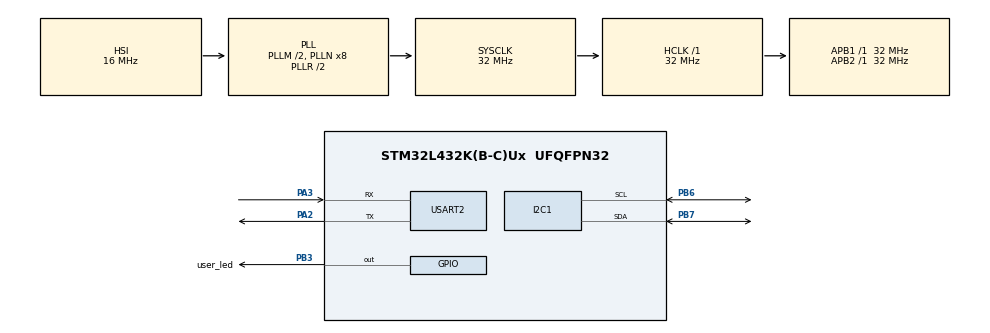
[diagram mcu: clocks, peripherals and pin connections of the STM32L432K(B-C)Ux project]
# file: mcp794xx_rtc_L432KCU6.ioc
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I2C1.Timing=0x00707CBB
Mcu.Family=STM32L4
Mcu.Name=STM32L432K(B-C)Ux
Mcu.Package=UFQFPN32
NVIC.PriorityGroup=NVIC_PRIORITYGROUP_4
PA13\ (JTMS-SWDIO).Mode=Serial_Wire
PA13\ (JTMS-SWDIO).Signal=SYS_JTMS-SWDIO
PA14\ (JTCK-SWCLK).Mode=Serial_Wire
PA14\ (JTCK-SWCLK).Signal=SYS_JTCK-SWCLK
PA2.Mode=Asynchronous
PA2.Signal=USART2_TX
PA3.Mode=Asynchronous
PA3.Signal=USART2_RX
PB3\ (JTDO-TRACESWO).GPIO_Label=user_led
PB3\ (JTDO-TRACESWO).Signal=GPIO_Output
PB6.Mode=I2C
PB6.Signal=I2C1_SCL
PB7.Mode=I2C
PB7.Signal=I2C1_SDA
ProjectManager.HeapSize=0x200
ProjectManager.StackSize=0x400
ProjectManager.TargetToolchain=STM32CubeIDE
RCC.ADCFreq_Value=32000000
RCC.AHBFreq_Value=32000000
RCC.APB1Freq_Value=32000000
RCC.APB1TimFreq_Value=32000000
RCC.APB2Freq_Value=32000000
RCC.APB2TimFreq_Value=32000000
RCC.CortexFreq_Value=32000000
RCC.HCLKFreq_Value=32000000
RCC.HSE_VALUE=8000000
RCC.HSI48_VALUE=48000000
RCC.HSI_VALUE=16000000
RCC.LSE_VALUE=32768
RCC.MSI_VALUE=4000000
RCC.PLLM=2
RCC.PLLSourceVirtual=RCC_PLLSOURCE_HSI
RCC.SYSCLKFreq_VALUE=32000000
RCC.SYSCLKSource=RCC_SYSCLKSOURCE_PLLCLK
RCC.USBFreq_Value=32000000
RCC.VCOOutputFreq_Value=64000000
USART2.VirtualMode-Asynchronous=VM_ASYNC
board=custom

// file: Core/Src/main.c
/* USER CODE BEGIN Header */
/**
  ******************************************************************************
  * @file           : main.c
  * @brief          : Main program body
  ******************************************************************************
  * @attention
  *
  * Copyright (c) 2023 STMicroelectronics.
  * All rights reserved.
  *
  * This software is licensed under terms that can be found in the LICENSE file
  * in the root directory of this software component.
  * If no LICENSE file comes with this software, it is provided AS-IS.
  *
  ******************************************************************************
  */
/* USER CODE END Header */
#include "main.h"

/* USER CODE BEGIN Includes */
#include "mcp794xx_driver_basic.h"
/* USER CODE END Includes */

 I2C_HandleTypeDef hi2c1;

UART_HandleTypeDef huart2;

void SystemClock_Config(void);
static void MX_GPIO_Init(void);
static void MX_I2C1_Init(void);
static void MX_USART2_UART_Init(void);

/* USER CODE BEGIN 0 */

typedef enum{                   /**< driver test state chine */

	SET_TIME_DATE,
	GET_COMPILE_TIME_DATE,
	READ_TIME_AND_DATE,
	TEST_ALARM,
	TEST_POWER_FAIL,
	TEST_FREQ_OUT,
	TEST_TIME_TRIM,
	TEST_EPOCH_TIME,
	WRITE_SRAM,
	READ_SRAM,
	ERASE_SRAM_SECTOR,
	WIPE_SRAM,
	WRITE_EEPROM,
	READ_EEPROM,
	PUT_EEPROM,
	GET_EEPROM,
	WIPE_EEPROM,
	READ_UID,
	COUNTDOWN_TIMER
}driver_example_t;

typedef struct test_s{
	driver_example_t state;
}test_t;

test_t test;

void serial_print(const char *pString, uint8_t u8Length);
uint8_t i2c_write(uint8_t addr, uint8_t *buf, uint16_t len);
uint8_t i2c_read(uint8_t addr, uint8_t *buf, uint16_t len);

struct mcp794xx_time_s default_time_date = {   	        /**< default time and date Tuesday 24/12/2023 20:24:48*/
	.year    = 23,          							/**< year 2023*/
	.date    = 24,         	 							/**< date 24th */
	.hour    = 20,										/**< hour 8pm */
	.minute  = 24,										/**< minute 24 */
	.second  = 48,           							/**< seconds 48 */
	.month   = MCP794XX_MTH_DECEMBER,					/**< month of December */
	.time_Format = MCP794XX_24HR_FORMAT,                /**< 24hr time format */
	.weekDay = MCP794XX_WKDAY_SUNDAY,                  /**< week day Sunday */
	.am_pm_indicator = MCP794XX_AM_INDICATOR          	/**< am and pm indicator is ignored when using 24hr time format */
};

struct mcp794xx_time_s alarm_default_time = {           /**< alarm default time and date */
	.date   = 10,
	.hour   = 11,
	.minute = 59,
	.second = 15,
	.month = MCP794XX_MTH_NOVEMBER,
	.time_Format = MCP794XX_24HR_FORMAT,
	.weekDay = MCP794XX_WKDAY_TUESDAY,
	.am_pm_indicator = MCP794XX_AM_INDICATOR          	/**< am and pm indicator is ignored when using 24hr time format */
};

mcp794xx_time_t now, alarm, pwr_fail, epoch_t, compile_time_date;          /**< define a new time objects to read current time and date, alarm time and date and power fail time stamp */
uint8_t alarm_mask, previous_seconds;
uint8_t alarm_flag, set_time_status;
bool pwr_fail_read, set_alarm_status;
uint32_t epoch_time;
uint32_t epoch_time_read;
uint8_t *pEeprom_data_read;
uint8_t *pEeprom_data_write;
uint8_t *pUnique_id;
uint8_t *pSram_data_read;
uint8_t *pSram_data_write;

mcp794xx_irq_callback_t mcp794x_irq_cb = mcp794xx_basic_irq_handler;	/**< define a callback function for external interrupt */

/* USER CODE END 0 */

int main(void)
{

  /* MCU Configuration--------------------------------------------------------*/

  /* Reset of all peripherals, Initializes the Flash interface and the Systick. */
  HAL_Init();

  /* Configure the system clock */
  SystemClock_Config();

  /* Initialize all configured peripherals */
  MX_GPIO_Init();
  MX_I2C1_Init();
  MX_USART2_UART_Init();
  /* USER CODE BEGIN 2 */

	err = mcp794xx_basic_initialize(MCP79412_VARIANT);                               /**< initialize device driver  passing in the correct variant*/
	if(err != MCP794XX_DRV_OK){
		mcp794xx_interface_debug_print("initialize failed, error code: %d\r", err);
	}
	err = mcp794xx_info(&mcp794xx_handler);

	mcp794xx_interface_debug_print("Chip name :\t%s\n\r", mcp794xx_handler.info.chip_name);
	mcp794xx_interface_debug_print("Manufacturer: \t%s\n\r",  mcp794xx_handler.info.manufacturer_name);

	mcp794xx_interface_debug_print("Interface: \t%s\n\r",  mcp794xx_handler.info.interface);
	mcp794xx_interface_debug_print("Supply voltage max : \t%0.2fV\n\r",  mcp794xx_handler.info.supply_voltage_max_v);
	mcp794xx_interface_debug_print("Supply voltage min: \t%0.2fV\n\r",  mcp794xx_handler.info.supply_voltage_min_v);
	mcp794xx_interface_debug_print("Maximum current: \t%0.1fmA\n\r",  mcp794xx_handler.info.max_current_ma);
	mcp794xx_interface_debug_print("Temperature Max: \t%.1fC\n\r",  mcp794xx_handler.info.temperature_max);
	mcp794xx_interface_debug_print("Temperature Min: \t%.1fC\n\r",  mcp794xx_handler.info.temperature_min);
	mcp794xx_interface_debug_print("Driver version: \tV%.1f.%.2d\n\r", ( mcp794xx_handler.info.driver_version / 1000), (uint8_t)( mcp794xx_handler.info.driver_version - (uint8_t)( mcp794xx_handler.info.driver_version / 100)*100));

	test.state = SET_TIME_DATE;

  /* USER CODE END 2 */

  /* Infinite loop */
  /* USER CODE BEGIN WHILE */
  while (1)
  {

		switch((int)test.state)
		{
			case SET_TIME_DATE :
			{
				mcp794xx_basic_set_time_date(&default_time_date);   							/**< set rtc time and date manually */

				#ifdef USE_COMPILE_TIME_DATE         											/**< set time and date using compile time and date (if this routine fails use default time and date above )*/

				mcp794xx_basic_get_compile_time_date(__TIME__, __DATE__, &compile_time_date);   /**< read and convert compile time and date to rtc time object */
				mcp794xx_basic_set_time_date(&compile_time_date);								/**< set time and date */
				#endif

				test.state = READ_TIME_AND_DATE;
				break;
			}

			case READ_TIME_AND_DATE:
			{
				mcp794xx_basic_get_current_time_date(&now);				/**< read current time and date */

				if(now.second != previous_seconds){                     /**< print time every second */
					previous_seconds = now.second;

					/**< print current time and date*/
					mcp794xx_interface_debug_print("Time: %.2d:",now.hour);
					mcp794xx_interface_debug_print("%.2d:",now.minute);
					mcp794xx_interface_debug_print("%.2d",now.second);
					//	  mcp794xx_interface_debug_print(" %s \n\r",am_pm_array[now.am_pm_indicator]);
					mcp794xx_interface_debug_print("\r\ndate: %s",week_days_arr[now.weekDay]);
					mcp794xx_interface_debug_print(" %.2d",now.date);
					mcp794xx_interface_debug_print(" %s",months_array[now.month]);
					mcp794xx_interface_debug_print(" %d \n\r",now.year);

					test.state = COUNTDOWN_TIMER;

				}

				break;
			}

			case TEST_ALARM:
			{
				if(set_alarm_status == false)
				{
					set_alarm_status = true;

					mcp794xx_basic_enable_alarm(MCP794XX_ALARM0, MCP794XX_INT_POLARITY_LOW);								/**< enable alarm 0 and set interrupt output polarity logic low*/
					mcp794xx_basic_set_alarm_time_date(MCP794XX_ALARM0, MCP794XX_MASK_HOURS, &alarm_default_time);			/**< set hour alarm (alarm will fire an interrupt when hour match) */

					mcp794xx_basic_get_alarm_time_date(MCP794XX_ALARM0, &alarm_mask, &alarm);     							/**< read alarm time, date and alarm mask set(this operation is not necessary when setting alarm) */
					mcp794xx_interface_debug_print("alarm time: %.2d:",alarm.hour);											/**< print time and date set*/
				}

               mcp794xx_basic_get_alarm_interrupt_flag(MCP794XX_ALARM0, &alarm_flag);       								/**< read alarm interrupt flag */

			   if(alarm_flag == 1)    																						/**< this routine should be executed inside the external interrupt callback function */
			   {
				   HAL_GPIO_TogglePin(user_led_GPIO_Port, user_led_Pin);													/**< toggle user led for debug purposes */
				   mcp794xx_basic_clr_alarm_interrupt_flag(MCP794XX_ALARM0);												/**< clear alarm time flag (note that if time still match alarm flag will be held) */

//				   mcp794xx_basic_irq_callBack(MCP794XX_ALARM0, mcp794x_irq_cb);											/**< interrupt callback function (to be called in the external interrupt callback function )*/
			   }
			   test.state = READ_TIME_AND_DATE;
				break;
			}

			case COUNTDOWN_TIMER:
			{   /**< !! note that week day must be set accurately according to calendar for this routine to work !! */

				if(set_alarm_status == false)
				{
					set_alarm_status = true;
					mcp794xx_basic_enable_countdown_interrupt();							/**< enable count down timer interrupt (this routine uses ALARM1) and generate an interrupt when time expires*/
					mcp794xx_basic_set_countdown_time(5, MCP794XX_CNTDWN_SECONDS);			/**< set count down time, fires an interrupt every 5 sec(this routine will disable ALARM0)*/
				}

				mcp794xx_basic_get_alarm_interrupt_flag(MCP794XX_ALARM1, &alarm_flag);      /**< read alarm interrupt flag */
				mcp794xx_interface_debug_print("flag %d\n", alarm_flag);

				if(alarm_flag == 1)
				{
					HAL_GPIO_TogglePin(user_led_GPIO_Port, user_led_Pin);					/**< toggle user led for debug purposes  (not advisable to call this function within a interrupt callback function) */
					mcp794xx_basic_clr_alarm_interrupt_flag(MCP794XX_ALARM1);				/**< clear interrupt flag */
					mcp794xx_basic_set_countdown_time(5, MCP794XX_CNTDWN_SECONDS);			/**< reload time in register every when count down expires  (not advisable to call this function within a interrupt callback function)*/

//					mcp794xx_basic_irq_callBack(MCP794XX_ALARM1, mcp794x_irq_cb);			/**< interrupt callback function (to be called in the external interrupt callback function) */
				}
				test.state = READ_TIME_AND_DATE;
				break;
			}

			case TEST_POWER_FAIL:
			{
				if(pwr_fail_read == false)   /**< !! make sure power fail time stamp is read before any other instruction clears existing data (must be called before setting time at start up !! */
				{
					pwr_fail_read = true;
					mcp794xx_basic_get_pwr_fail_time_stamp(MCP794XX_PWR_UP_TIME_STAMP, &pwr_fail);           /**< read power fail time stamp */
					mcp794xx_basic_enable_ext_batt_bckup_pwr();											     /**< enable back up power for future power fail event (calling this function will clear power fail time stamp event) */
				}
				/*< print time stamp */
				mcp794xx_interface_debug_print("pwr fail:%.2d:",pwr_fail.hour);
				mcp794xx_interface_debug_print("%.2d - ",pwr_fail.minute);
				mcp794xx_interface_debug_print("%.2d\r\n",pwr_fail.time_Format);

				test.state = SET_TIME_DATE;

				break;
			}

			case TEST_FREQ_OUT:
			{
				mcp794xx_basic_enable_sqr_wave_output();									/**< enable frequency output */
				mcp94xx_basic_set_sqr_wave_output_freq(MCP794XX_SQR_FREQ_SELCET_4_096KHZ);	/**< set frequency output value */
				break;
			}

			case TEST_EPOCH_TIME:
			{
				mcp794xx_basic_convert_time_to_epoch_unix_time(&now, (uint32_t *)&epoch_time);              /**< convert current time and date to epoch unix time (local time) */
				mcp794xx_interface_debug_print("time date: %lu\r\n",epoch_time);

				mcp794xx_basic_convert_epoch_to_human_time_format(epoch_time, &epoch_t);                    /**< convert epoch time format to human readable format*/
				mcp794xx_interface_debug_print("epoch current tm: %d-%d-%d  %02d:%02d:%02d, %s\n\r", epoch_t.year, epoch_t.month, epoch_t.date, epoch_t.hour, epoch_t.minute, epoch_t.second, week_days_arr[epoch_t.weekDay]);

				test.state = READ_TIME_AND_DATE;
				break;
			}

			case READ_UID:
			{
				pUnique_id = (uint8_t *)calloc(UID_MAX_LENGTH, sizeof(uint8_t));     	  /**< allocate memory for data to read */
				if(pUnique_id == NULL)
					mcp794xx_interface_debug_print("failed to allocate memory\n\r");

                mcp794xx_basic_uid_read((uint8_t*)pUnique_id);                            /**< read device unique identifier */
                for(int index = 0; index < UID_MAX_LENGTH; index++){					  /*< print id */
                    mcp794xx_interface_debug_print("%.2p :",pUnique_id[index]);
                }
                free(pUnique_id);														  /**< free memory allocated*/

				break;
			}

			case READ_SRAM:
			{
				pSram_data_read = (uint8_t *)calloc(SRAM_MEMORY_SIZE, sizeof(uint8_t));     						  /**< allocate memory for data to read */
				if(pSram_data_read == NULL)
					mcp794xx_interface_debug_print("failed to allocate memory\n\r");

				mcp794xx_basic_sram_read_byte(SRAM_FIRST_ADDRESS, (uint8_t *)pSram_data_read, SRAM_MEMORY_SIZE);      /**< read the whole sram memory, starting from first address (0x20) */
				for(int index = 0; index < SRAM_MEMORY_SIZE; index++){
					mcp794xx_interface_debug_print("%.2p ",pSram_data_read[index]);
				}

				free(pSram_data_read);		/**< free memory allocated*/
				break;
			}

			case WRITE_SRAM:
			{
				pSram_data_write = (uint8_t *)calloc(SRAM_MEMORY_SIZE, sizeof(uint8_t));     /**< allocate memory for data to written */
				if(pSram_data_write == NULL)
					mcp794xx_interface_debug_print("failed to allocate memory\n\r");

				memcpy((uint8_t *)pSram_data_write, (uint8_t *)pUnique_id, UID_MAX_LENGTH);   /**< copy UID and write it to sram */

				mcp794xx_basic_sram_write_byte(SRAM_FIRST_ADDRESS, (uint8_t *)pSram_data_write, UID_MAX_LENGTH);   /**< write data starting from sram first address */

				free(pSram_data_write);
				break;
			}

			case ERASE_SRAM_SECTOR:
			{
				mcp794xx_basic_sram_erase_selector(0x20, 0x23);             				 /**< erase sram data from address 0x20 - 0x23 */
				break;
			}

			case WIPE_SRAM:
			{
				mcp794xx_basic_sram_wipe();													/**< wipe the whole sram memory */
				break;
			}

			case READ_EEPROM:
			{
				pEeprom_data_read = (uint8_t *)calloc(EEPROM_MEMORY_SIZE, sizeof(uint8_t));     						  /**< allocate memory for data to read */
				if(pEeprom_data_read == NULL)
					mcp794xx_interface_debug_print("failed to allocate memory\n\r");

				mcp794xx_basic_eeprom_read_byte(EEPROM_LOWEST_ADDRESS, (uint8_t *)pEeprom_data_read, EEPROM_PAGE_SIZE);   /**< read the 8 byte starting from address 0x00 */
				for(int index = 0; index < EEPROM_PAGE_SIZE ; index++){
					mcp794xx_interface_debug_print("%.2p ", pEeprom_data_read[index]);
				}

				free(pEeprom_data_read);
				break;
			}

			case WRITE_EEPROM:
			{
				pEeprom_data_write = (uint8_t *)calloc(EEPROM_PAGE_SIZE, sizeof(uint8_t));         /**< allocate a block memory for the eeprom write buffer */
				if(pEeprom_data_write == NULL)
					mcp794xx_interface_debug_print("failed to allocate dynamic memory\n\r");

				for(int index = 0; index < EEPROM_PAGE_SIZE; index++){                          					  /**< fill the first few byte of the memory 0 - 10 */
					pEeprom_data_write[index] = index;
					mcp794xx_interface_debug_print("to write :%.2p\n\r", pEeprom_data_write[index]);
				}

				mcp794xx_basic_eeprom_write_byte(0x00, (uint8_t *)pEeprom_data_write, EEPROM_PAGE_SIZE);      		  /**< write the first 8 bytes address (keep in mind the 5ms Write Cycle Time before attempt to read back written data)*/

				free(pEeprom_data_write);          													  /**< allocated memory */

				break;
			}

			case PUT_EEPROM:
			{

				mcp794xx_basic_convert_time_to_epoch_unix_time(&now, (uint32_t *)&epoch_time);   	  /**< convert current time stamp to epoch Unix time */

				err = mcp794xx_basic_eeprom_put_byte(0x00, (uint32_t*)&epoch_time, 4);  		      /**< store converted epoch time into eeprom from address 0x00, knowing that it is always a 4 bytes long number */
				mcp794xx_interface_debug_print("err code: %d\n\r",err);

				test.state = GET_EEPROM;
				break;
			}

			case GET_EEPROM:
			{
				mcp794xx_interface_delay_ms(5);														/**< wait 5ms before read */

				mcp794xx_basic_eeprom_get_byte(0x00, (uint32_t*)&epoch_time_read, 4);				/**<  read epoch time written in previous state */
				mcp794xx_interface_debug_print("eeprom get: %lu\n\r",epoch_time_read);

				test.state = READ_TIME_AND_DATE;

				break;
			}

		}
    /* USER CODE END WHILE */

  }
}

void SystemClock_Config(void)
{
  RCC_OscInitTypeDef RCC_OscInitStruct = {0};
  RCC_ClkInitTypeDef RCC_ClkInitStruct = {0};

  /** Configure the main internal regulator output voltage
  */
  if (HAL_PWREx_ControlVoltageScaling(PWR_REGULATOR_VOLTAGE_SCALE1) != HAL_OK)
  {
    Error_Handler();
  }

  /** Initializes the RCC Oscillators according to the specified parameters
  * in the RCC_OscInitTypeDef structure.
  */
  RCC_OscInitStruct.OscillatorType = RCC_OSCILLATORTYPE_HSI;
  RCC_OscInitStruct.HSIState = RCC_HSI_ON;
  RCC_OscInitStruct.HSICalibrationValue = RCC_HSICALIBRATION_DEFAULT;
  RCC_OscInitStruct.PLL.PLLState = RCC_PLL_ON;
  RCC_OscInitStruct.PLL.PLLSource = RCC_PLLSOURCE_HSI;
  RCC_OscInitStruct.PLL.PLLM = 2;
  RCC_OscInitStruct.PLL.PLLN = 8;
  RCC_OscInitStruct.PLL.PLLP = RCC_PLLP_DIV7;
  RCC_OscInitStruct.PLL.PLLQ = RCC_PLLQ_DIV2;
  RCC_OscInitStruct.PLL.PLLR = RCC_PLLR_DIV2;
  if (HAL_RCC_OscConfig(&RCC_OscInitStruct) != HAL_OK)
  {
    Error_Handler();
  }

  /** Initializes the CPU, AHB and APB buses clocks
  */
  RCC_ClkInitStruct.ClockType = RCC_CLOCKTYPE_HCLK|RCC_CLOCKTYPE_SYSCLK
                              |RCC_CLOCKTYPE_PCLK1|RCC_CLOCKTYPE_PCLK2;
  RCC_ClkInitStruct.SYSCLKSource = RCC_SYSCLKSOURCE_PLLCLK;
  RCC_ClkInitStruct.AHBCLKDivider = RCC_SYSCLK_DIV1;
  RCC_ClkInitStruct.APB1CLKDivider = RCC_HCLK_DIV1;
  RCC_ClkInitStruct.APB2CLKDivider = RCC_HCLK_DIV1;

  if (HAL_RCC_ClockConfig(&RCC_ClkInitStruct, FLASH_LATENCY_1) != HAL_OK)
  {
    Error_Handler();
  }
}

static void MX_I2C1_Init(void)
{

  hi2c1.Instance = I2C1;
  hi2c1.Init.Timing = 0x00707CBB;
  hi2c1.Init.OwnAddress1 = 0;
  hi2c1.Init.AddressingMode = I2C_ADDRESSINGMODE_7BIT;
  hi2c1.Init.DualAddressMode = I2C_DUALADDRESS_DISABLE;
  hi2c1.Init.OwnAddress2 = 0;
  hi2c1.Init.OwnAddress2Masks = I2C_OA2_NOMASK;
  hi2c1.Init.GeneralCallMode = I2C_GENERALCALL_DISABLE;
  hi2c1.Init.NoStretchMode = I2C_NOSTRETCH_DISABLE;
  if (HAL_I2C_Init(&hi2c1) != HAL_OK)
  {
    Error_Handler();
  }

  /** Configure Analogue filter
  */
  if (HAL_I2CEx_ConfigAnalogFilter(&hi2c1, I2C_ANALOGFILTER_ENABLE) != HAL_OK)
  {
    Error_Handler();
  }

  /** Configure Digital filter
  */
  if (HAL_I2CEx_ConfigDigitalFilter(&hi2c1, 0) != HAL_OK)
  {
    Error_Handler();
  }

}

static void MX_USART2_UART_Init(void)
{

  huart2.Instance = USART2;
  huart2.Init.BaudRate = 115200;
  huart2.Init.WordLength = UART_WORDLENGTH_8B;
  huart2.Init.StopBits = UART_STOPBITS_1;
  huart2.Init.Parity = UART_PARITY_NONE;
  huart2.Init.Mode = UART_MODE_TX_RX;
  huart2.Init.HwFlowCtl = UART_HWCONTROL_NONE;
  huart2.Init.OverSampling = UART_OVERSAMPLING_16;
  huart2.Init.OneBitSampling = UART_ONE_BIT_SAMPLE_DISABLE;
  huart2.AdvancedInit.AdvFeatureInit = UART_ADVFEATURE_NO_INIT;
  if (HAL_UART_Init(&huart2) != HAL_OK)
  {
    Error_Handler();
  }

}

static void MX_GPIO_Init(void)
{
  GPIO_InitTypeDef GPIO_InitStruct = {0};

  /* GPIO Ports Clock Enable */
  __HAL_RCC_GPIOA_CLK_ENABLE();
  __HAL_RCC_GPIOB_CLK_ENABLE();

  /*Configure GPIO pin Output Level */
  HAL_GPIO_WritePin(user_led_GPIO_Port, user_led_Pin, GPIO_PIN_RESET);

  /*Configure GPIO pin : user_led_Pin */
  GPIO_InitStruct.Pin = user_led_Pin;
  GPIO_InitStruct.Mode = GPIO_MODE_OUTPUT_PP;
  GPIO_InitStruct.Pull = GPIO_NOPULL;
  GPIO_InitStruct.Speed = GPIO_SPEED_FREQ_LOW;
  HAL_GPIO_Init(user_led_GPIO_Port, &GPIO_InitStruct);

}

/* USER CODE BEGIN 4 */
/**
 * @brief transmit serial data via usb com port
 * @param[in] pTxBuffer point to data to sent
 * @param[in] length is the data size
 * @return
 * @note		none
 * */
void serial_print(const char *pString, uint8_t u8Length)
{
  HAL_UART_Transmit(&huart2, (const uint8_t *)pString, u8Length, HAL_MAX_DELAY);
}

/**
 * @brief i2c data transmit
 * @param[in] addr is the slave address
 * @param[in] buf the data to be written
 * @param[in] len size of data
 * @return  status code
 * 			- 0 success
 * 			- 1 failed to write
 * @note	none
 * */
uint8_t i2c_write(uint8_t addr, uint8_t *buf, uint16_t len)
{
	err = HAL_I2C_Master_Transmit(&hi2c1, (addr << 1), (uint8_t *)buf, len, 1000);
	return err;
}

/**
 * @brief i2c data Read
 * @param[in] addr is the slave address
 * @param[out] buf point to data to read
 * @param[in] len size of data
 * @return  status code
 * 			- 0 success
 * 			- 1 failed to read
 * @note	none
 * */

uint8_t i2c_read(uint8_t addr, uint8_t *buf, uint16_t len)
{
	err = HAL_I2C_Master_Receive(&hi2c1, (addr << 1), (uint8_t *)buf, len, 1000);
	return err;
}
/* USER CODE END 4 */

void Error_Handler(void)
{
  __disable_irq();
  while (1)
  {
  }
}
